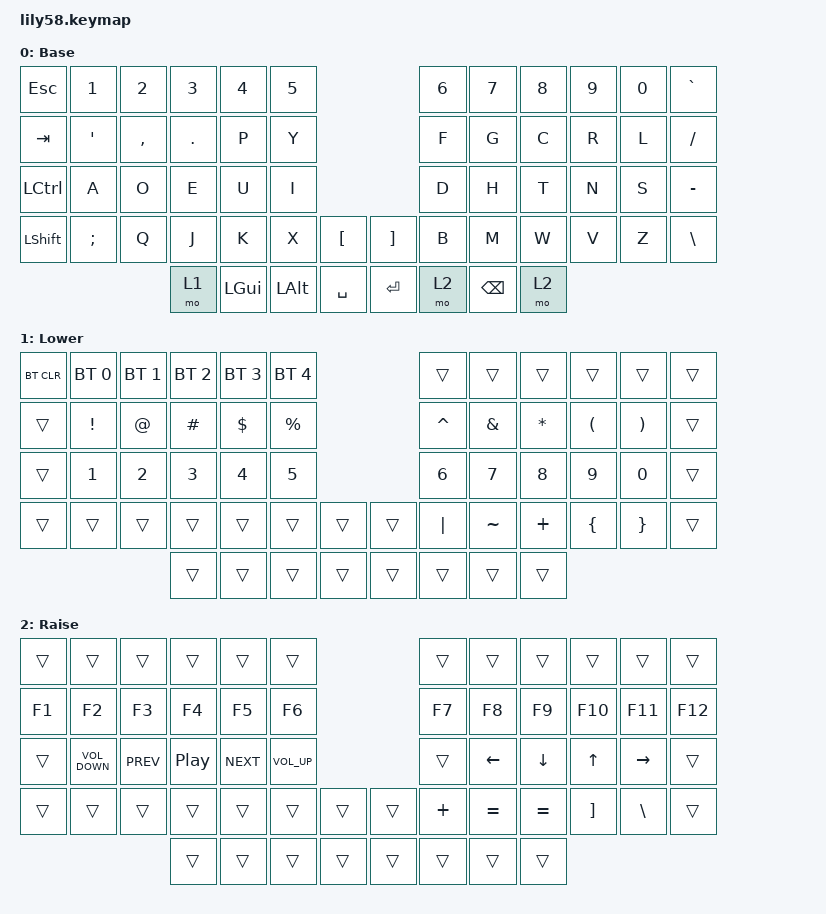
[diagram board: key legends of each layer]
/*
 * Copyright (c) 2020 The ZMK Contributors
 *
 * SPDX-License-Identifier: MIT
 */

#include <behaviors.dtsi>
#include <dt-bindings/zmk/bt.h>
#include <dt-bindings/zmk/keys.h>

/ {
    keymap {
        compatible = "zmk,keymap";

        default_layer {
            // ------------------------------------------------------------------------------------------------------------
            // |  ESC  |  1  |  2  |  3   |  4   |  5   |                   |  6   |  7    |  8    |  9   |   0   |   `   |
            // |  TAB  |  Q  |  W  |  E   |  R   |  T   |                   |  Y   |  U    |  I    |  O   |   P   |   -   |
            // |  CTRL |  A  |  S  |  D   |  F   |  G   |                   |  H   |  J    |  K    |  L   |   ;   |   '   |
            // | SHIFT |  Z  |  X  |  C   |  V   |  B   |   "["  |  |  "]"  |  N   |  M    |  ,    |  .   |   /   | SHIFT |
            //                     | ALT  | GUI  | LOWER|  SPACE |  | ENTER | RAISE| BSPC  | GUI   |

            display-name = "Base";
            bindings = <
&kp ESC    &kp N1         &kp N2     &kp N3      &kp N4    &kp N5                               &kp N6  &kp N7    &kp N8  &kp N9  &kp N0  &kp GRAVE
&kp TAB    &kp SQT        &kp COMMA  &kp PERIOD  &kp P     &kp Y                                &kp F   &kp G     &kp C   &kp R   &kp L   &kp SLASH
&kp LCTRL  &kp A          &kp O      &kp E       &kp U     &kp I                                &kp D   &kp H     &kp T   &kp N   &kp S   &kp MINUS
&kp LSHFT  &kp SEMICOLON  &kp Q      &kp J       &kp K     &kp X         &kp LBKT     &kp RBKT  &kp B   &kp M     &kp W   &kp V   &kp Z   &kp BACKSLASH
                                     &mo 1       &kp LGUI  &kp LEFT_ALT  &kp SPACE    &kp RET   &mo 2   &kp BSPC  &mo 2
            >;
        };

        lower_layer {
            // ------------------------------------------------------------------------------------------------------------
            // | BTCLR | BT1 | BT2 |  BT3 |  BT4 |  BT5 |                   |      |       |       |      |       |       |
            // |  F1   |  F2 |  F3 |  F4  |  F5  |  F6  |                   |  F7  |  F8   |  F9   |  F10 |  F11  |  F12  |
            // |   `   |  !  |  @  |  #   |  $   |  %   |                   |  ^   |  &    |  *    |  (   |   )   |   ~   |
            // |       |     |     |      |      |      |        |  |       |      |  _    |  +    |  {   |   }   |  "|"  |
            //                     |      |      |      |        |  |       |      |       |       |

            display-name = "Lower";
            bindings = <
&bt BT_CLR  &bt BT_SEL 0     &bt BT_SEL 1  &bt BT_SEL 2  &bt BT_SEL 3  &bt BT_SEL 4                    &trans        &trans         &trans        &trans                &trans                 &trans
&trans      &kp EXCLAMATION  &kp AT_SIGN   &kp HASH      &kp DOLLAR    &kp PERCENT                     &kp CARET     &kp AMPERSAND  &kp ASTERISK  &kp LEFT_PARENTHESIS  &kp RIGHT_PARENTHESIS  &trans
&trans      &kp NUMBER_1     &kp NUMBER_2  &kp NUMBER_3  &kp NUMBER_4  &kp NUMBER_5                    &kp NUMBER_6  &kp NUMBER_7   &kp NUMBER_8  &kp NUMBER_9          &kp NUMBER_0           &trans
&trans      &trans           &trans        &trans        &trans        &trans        &trans    &trans  &kp PIPE      &kp TILDE      &kp PLUS      &kp LBRC              &kp RBRC               &trans
                                           &trans        &trans        &trans        &trans    &trans  &trans        &trans         &trans
            >;
        };

        raise_layer {
            // ------------------------------------------------------------------------------------------------------------
            // |       |     |     |      |      |      |                   |      |       |       |      |       |       |
            // |   `   |  1  |  2  |  3   |  4   |  5   |                   |  6   |   7   |   8   |  9   |   0   |       |
            // |   F1  |  F2 |  F3 |  F4  |  F5  |  F6  |                   |      |   <-  |   v   |  ^   |  ->   |       |
            // |   F7  |  F8 |  F9 |  F10 |  F11 |  F12 |        |  |       |  +   |   -   |   =   |  [   |   ]   |   \   |
            //                     |      |      |      |        |  |       |      |       |       |

            display-name = "Raise";
            bindings = <
&trans  &trans             &trans      &trans            &trans      &trans                             &trans    &trans     &trans     &trans             &trans         &trans
&kp F1  &kp F2             &kp F3      &kp F4            &kp F5      &kp F6                             &kp F7    &kp F8     &kp F9     &kp F10            &kp F11        &kp F12
&trans  &kp C_VOLUME_DOWN  &kp C_PREV  &kp C_PLAY_PAUSE  &kp C_NEXT  &kp C_VOLUME_UP                    &trans    &kp LEFT   &kp DOWN   &kp UP             &kp RIGHT      &trans
&trans  &trans             &trans      &trans            &trans      &trans           &trans    &trans  &kp PLUS  &kp EQUAL  &kp EQUAL  &kp RIGHT_BRACKET  &kp BACKSLASH  &trans
                                       &trans            &trans      &trans           &trans    &trans  &trans    &trans     &trans
            >;
        };

        extra_1 { status = "reserved"; };

        extra_2 { status = "reserved"; };

        extra_3 { status = "reserved"; };
    };
};
